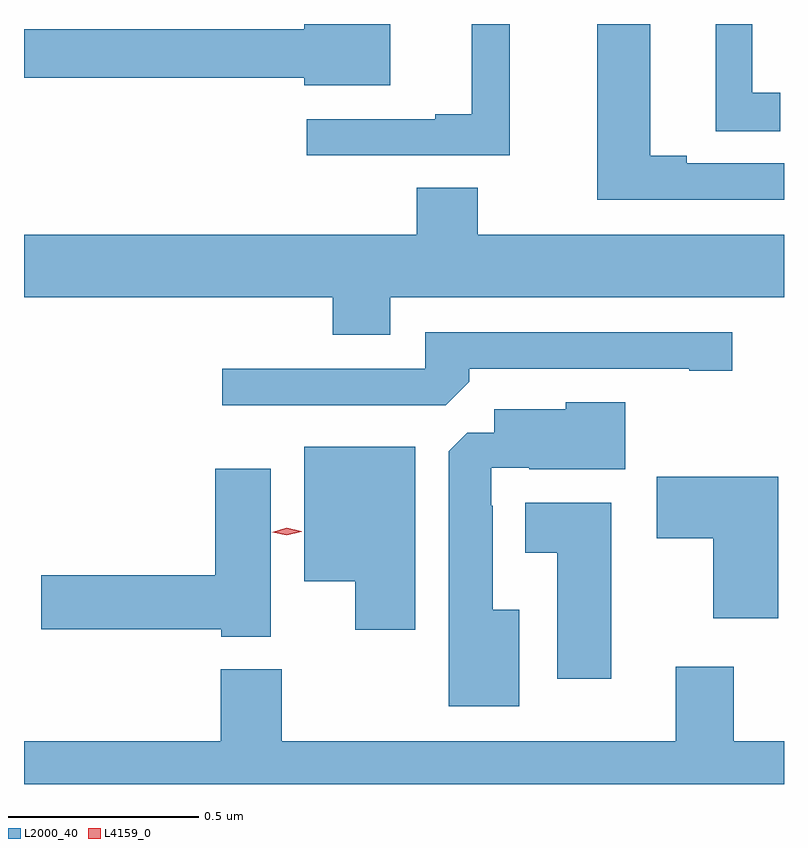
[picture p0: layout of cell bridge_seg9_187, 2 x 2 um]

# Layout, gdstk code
import gdstk
lib = gdstk.Library(unit=1e-6, precision=1e-09)
def P(c, l, *ps):  # polygons
    for p in ps: c.add(gdstk.Polygon(p, *l))
L2000_40 = (2000, 40)
L4159_0 = (4159, 0)

bridge_seg9_187 = lib.new_cell('bridge_seg9_187')
P(bridge_seg9_187, L2000_40, [(229.525,1214.455),(229.298,1214.455),(229.298,1214.441),(228.561,1214.441),(228.561,1214.313),(229.298,1214.313),(229.298,1214.294),(229.525,1214.294)],
  [(229.839,1214.455),(229.739,1214.455),(229.739,1214.218),(229.643,1214.218),(229.643,1214.205),(229.305,1214.205),(229.305,1214.109),(229.839,1214.109)],
  [(230.551,1214.274),(230.478,1214.274),(230.478,1214.455),(230.381,1214.455),(230.381,1214.173),(230.551,1214.173)],
  [(230.561,1214.088),(230.305,1214.088),(230.305,1214.108),(230.209,1214.108),(230.209,1214.455),(230.069,1214.455),(230.069,1213.992),(230.561,1213.992)],
  [(228.561,1213.736),(229.373,1213.736),(229.373,1213.637),(229.525,1213.637),(229.525,1213.736),(230.561,1213.736),(230.561,1213.9),(229.755,1213.9),(229.755,1214.024),(229.595,1214.024),(229.595,1213.9),(228.561,1213.9)],
  [(229.733,1213.514),(229.733,1213.548),(230.312,1213.548),(230.312,1213.543),(230.425,1213.543),(230.425,1213.644),(229.617,1213.644),(229.617,1213.548),(229.083,1213.548),(229.083,1213.452),(229.671,1213.452)],
  [(229.864,1212.913),(229.795,1212.913),(229.795,1213.187),(229.791,1213.187),(229.791,1213.287),(229.891,1213.287),(229.891,1213.283),(230.143,1213.283),(230.143,1213.459),(229.986,1213.459),(229.986,1213.441),(229.799,1213.441),(229.799,1213.38),(229.728,1213.38),(229.679,1213.331),(229.679,1212.659),(229.864,1212.659)],
  [(229.591,1213.342),(229.298,1213.342),(229.298,1212.989),(229.433,1212.989),(229.433,1212.861),(229.591,1212.861)],
  [(229.21,1213.285),(229.064,1213.285),(229.064,1213.004),(228.606,1213.004),(228.606,1212.862),(229.08,1212.862),(229.08,1212.842),(229.21,1212.842)],
  [(230.546,1213.264),(230.226,1213.264),(230.226,1213.102),(230.375,1213.102),(230.375,1212.891),(230.546,1212.891)],
  [(230.107,1213.195),(229.88,1213.195),(229.88,1213.064),(229.964,1213.064),(229.964,1212.732),(230.107,1212.732)],
  [(230.561,1212.568),(230.429,1212.568),(230.429,1212.763),(230.276,1212.763),(230.276,1212.568),(229.239,1212.568),(229.239,1212.757),(229.079,1212.757),(229.079,1212.568),(228.561,1212.568),(228.561,1212.455),(230.561,1212.455)])
P(bridge_seg9_187, L4159_0, [(229.253,1213.109),(229.214,1213.118),(229.214,1213.118),(229.214,1213.118),(229.252,1213.129),(229.291,1213.12),(229.292,1213.119),(229.291,1213.119)])

lib.write_gds('bridge_seg9_187.gds')
